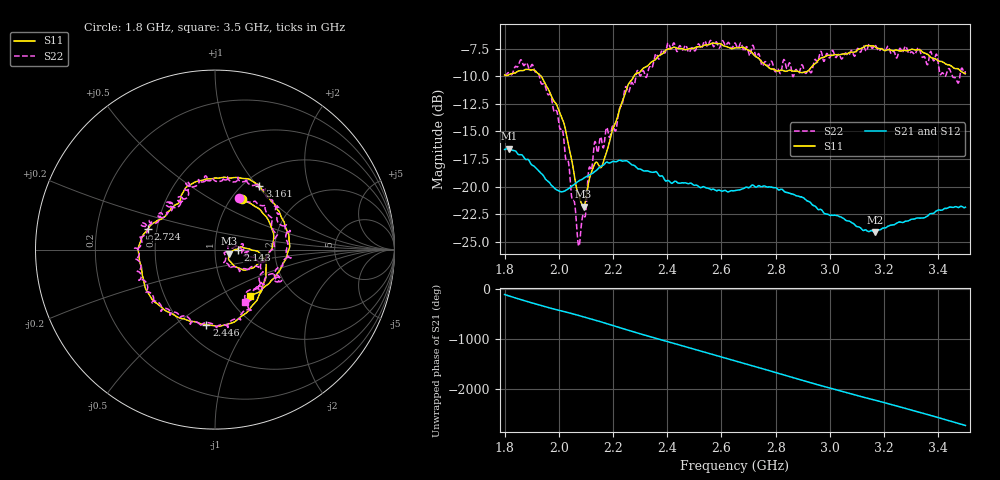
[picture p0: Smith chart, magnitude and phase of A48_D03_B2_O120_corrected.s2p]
! Created with skrf 1.9.0 (http://scikit-rf.org).
# Hz S RI R 50.0
!freq ReS11 ImS11 ReS21 ImS21 ReS12 ImS12 ReS22 ImS22
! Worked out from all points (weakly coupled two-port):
!   1601 points, 1.8 GHz to 3.5 GHz, reference 50 ohm
!   highest |S21| = -16.56 dB at 1.816 GHz (marker M1); lowest = -24.1 dB at 3.165 GHz (marker M2)
!   lowest |S11| = -21.8 dB at 2.091 GHz (marker M3), VSWR 1.18, Z = 58.3 - j2.74 ohm
!   |S11| at or under -10 dB: 1.935 GHz to 2.277 GHz (342.4 MHz wide, 16.3 % of centre)
!   |S22| runs from -25.4 to -6.8 dB; largest |S21 - S12| = 0.0026
!   S11 on the Smith chart (normalised r, x): 1.8 GHz: 1.12, +0.71; 2.143 GHz: 1.29, -0.01; 2.446 GHz: 0.65, -0.66; 2.724 GHz: 0.45, +0.12; 3.161 GHz: 1.17, +1.03; 3.5 GHz: 1.25, -0.73
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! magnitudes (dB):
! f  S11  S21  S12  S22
! 1.8 GHz  -9.9  -16.6  -16.6  -9.9
! 1.816 GHz  -9.9  -16.6  -16.6  -9.7
! 1.902 GHz  -9.4  -18.1  -18.0  -8.9
! 1.968 GHz  -11.5  -19.7  -19.8  -11.6
! 2.014 GHz  -13.9  -20.5  -20.5  -14.9
! 2.071 GHz  -20.6  -19.5  -19.6  -25.1
! 2.084 GHz  -21.5  -19.4  -19.3  -23.3
! 2.091 GHz  -21.8  -19.3  -19.3  -22.5
! 2.113 GHz  -19.2  -18.9  -18.9  -18.2
! 2.143 GHz  -17.9  -18.4  -18.4  -16.9
! 2.209 GHz  -14.2  -17.8  -17.7  -15.0
! 2.259 GHz  -10.6  -17.8  -17.8  -11.4
! 2.367 GHz  -8.2  -18.9  -18.9  -8.4
! 2.446 GHz  -7.5  -19.7  -19.7  -7.2
! 2.65 GHz  -7.4  -20.4  -20.3  -7.0
! 2.724 GHz  -8.2  -20.0  -20.0  -8.0
! 2.81 GHz  -9.5  -20.3  -20.2  -9.4
! 2.934 GHz  -9.1  -21.6  -21.6  -9.6
! 3.161 GHz  -7.3  -24.1  -24.0  -7.3
! 3.165 GHz  -7.3  -24.1  -24.1  -7.2
! 3.217 GHz  -7.6  -23.6  -23.5  -7.4
! 3.5 GHz  -9.8  -21.9  -21.9  -9.5
